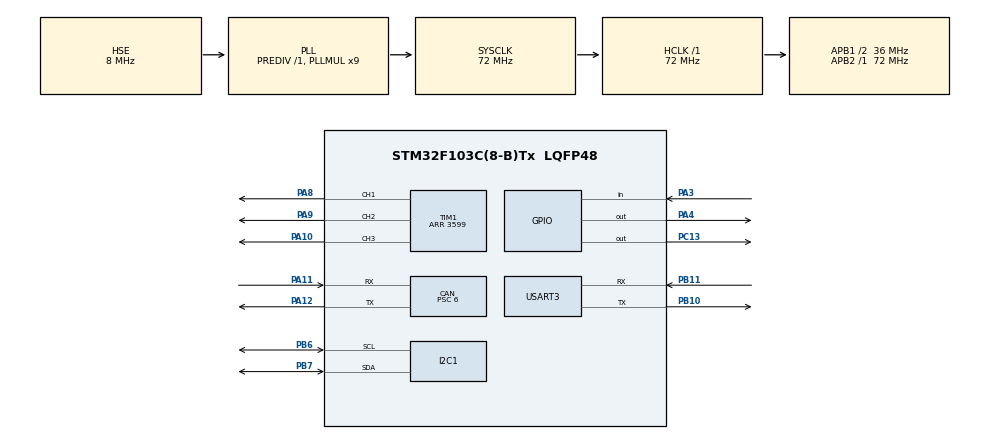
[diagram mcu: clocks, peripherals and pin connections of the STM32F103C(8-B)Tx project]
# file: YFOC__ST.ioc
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CAN.BS1=CAN_BS1_3TQ
CAN.BS2=CAN_BS2_2TQ
CAN.CalculateBaudRate=999999
CAN.CalculateTimeBit=1000
CAN.CalculateTimeQuantum=166.66666666666669
CAN.Prescaler=6
Dma.I2C1_RX.0.Direction=DMA_PERIPH_TO_MEMORY
Dma.I2C1_RX.0.Instance=DMA1_Channel7
Dma.I2C1_RX.0.MemDataAlignment=DMA_MDATAALIGN_BYTE
Dma.I2C1_RX.0.MemInc=DMA_MINC_ENABLE
Dma.I2C1_RX.0.Mode=DMA_NORMAL
Dma.I2C1_RX.0.PeriphDataAlignment=DMA_PDATAALIGN_BYTE
Dma.I2C1_RX.0.PeriphInc=DMA_PINC_DISABLE
Dma.I2C1_RX.0.Priority=DMA_PRIORITY_LOW
Dma.I2C1_TX.1.Direction=DMA_MEMORY_TO_PERIPH
Dma.I2C1_TX.1.Instance=DMA1_Channel6
Dma.I2C1_TX.1.MemDataAlignment=DMA_MDATAALIGN_BYTE
Dma.I2C1_TX.1.MemInc=DMA_MINC_ENABLE
Dma.I2C1_TX.1.Mode=DMA_NORMAL
Dma.I2C1_TX.1.PeriphDataAlignment=DMA_PDATAALIGN_BYTE
Dma.I2C1_TX.1.PeriphInc=DMA_PINC_DISABLE
Dma.I2C1_TX.1.Priority=DMA_PRIORITY_LOW
Dma.Request0=I2C1_RX
Dma.Request1=I2C1_TX
I2C1.I2C_Mode=I2C_Fast
Mcu.Family=STM32F1
Mcu.Name=STM32F103C(8-B)Tx
Mcu.Package=LQFP48
NVIC.DMA1_Channel6_IRQn=true\:0\:0\:false\:false\:true\:false\:true\:true
NVIC.DMA1_Channel7_IRQn=true\:0\:0\:false\:false\:true\:false\:true\:true
NVIC.I2C1_ER_IRQn=true\:1\:0\:true\:false\:true\:true\:true\:true
NVIC.I2C1_EV_IRQn=true\:1\:0\:true\:false\:true\:true\:true\:true
NVIC.PriorityGroup=NVIC_PRIORITYGROUP_4
NVIC.TIM2_IRQn=true\:0\:0\:true\:false\:true\:true\:true\:true
NVIC.TIM3_IRQn=true\:1\:0\:true\:false\:true\:true\:true\:true
NVIC.USART3_IRQn=true\:3\:0\:true\:false\:true\:true\:true\:true
NVIC.USB_HP_CAN1_TX_IRQn=true\:0\:0\:false\:false\:true\:true\:true\:true
NVIC.USB_LP_CAN1_RX0_IRQn=true\:0\:0\:false\:false\:true\:true\:true\:true
PA10.Signal=S_TIM1_CH3
PA11.Mode=CAN_Activate
PA11.Signal=CAN_RX
PA12.Mode=CAN_Activate
PA12.Signal=CAN_TX
PA13.Mode=Serial_Wire
PA13.Signal=SYS_JTMS-SWDIO
PA14.Mode=Serial_Wire
PA14.Signal=SYS_JTCK-SWCLK
PA3.Signal=GPIO_Input
PA4.Signal=GPIO_Output
PA8.Signal=S_TIM1_CH1
PA9.Signal=S_TIM1_CH2
PB10.Mode=Asynchronous
PB10.Signal=USART3_TX
PB11.Mode=Asynchronous
PB11.Signal=USART3_RX
PB6.Mode=I2C
PB6.Signal=I2C1_SCL
PB7.Mode=I2C
PB7.Signal=I2C1_SDA
PC13-TAMPER-RTC.Signal=GPIO_Output
PD0-OSC_IN.Mode=HSE-External-Oscillator
PD0-OSC_IN.Signal=RCC_OSC_IN
PD1-OSC_OUT.Mode=HSE-External-Oscillator
PD1-OSC_OUT.Signal=RCC_OSC_OUT
ProjectManager.HeapSize=0x200
ProjectManager.StackSize=0x400
ProjectManager.TargetToolchain=STM32CubeIDE
RCC.AHBFreq_Value=72000000
RCC.APB1CLKDivider=RCC_HCLK_DIV2
RCC.APB1Freq_Value=36000000
RCC.APB1TimFreq_Value=72000000
RCC.APB2Freq_Value=72000000
RCC.APB2TimFreq_Value=72000000
RCC.HCLKFreq_Value=72000000
RCC.PLLMUL=RCC_PLL_MUL9
RCC.PLLSourceVirtual=RCC_PLLSOURCE_HSE
RCC.SYSCLKFreq_VALUE=72000000
RCC.SYSCLKSource=RCC_SYSCLKSOURCE_PLLCLK
RCC.USBFreq_Value=72000000
SH.S_TIM1_CH1.0=TIM1_CH1,PWM Generation1 CH1
SH.S_TIM1_CH2.0=TIM1_CH2,PWM Generation2 CH2
SH.S_TIM1_CH3.0=TIM1_CH3,PWM Generation3 CH3
TIM1.Channel-PWM\ Generation1\ CH1=TIM_CHANNEL_1
TIM1.Channel-PWM\ Generation2\ CH2=TIM_CHANNEL_2
TIM1.Channel-PWM\ Generation3\ CH3=TIM_CHANNEL_3
TIM1.CounterMode=TIM_COUNTERMODE_CENTERALIGNED3
TIM1.Period=3599
TIM2.Period=999
TIM2.Prescaler=17
TIM3.Period=1999
TIM3.Prescaler=17
USART3.VirtualMode=VM_ASYNC
VP_TIM1_VS_ClockSourceINT.Mode=Internal
VP_TIM2_VS_ClockSourceINT.Mode=Internal
VP_TIM3_VS_ClockSourceINT.Mode=Internal
board=custom

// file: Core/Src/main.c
/* USER CODE BEGIN Header */
/**
  ******************************************************************************
  * @file           : main.c
  * @brief          : Main program body
  ******************************************************************************
  * @attention
  *
  * Copyright (c) 2025 STMicroelectronics.
  * All rights reserved.
  *
  * This software is licensed under terms that can be found in the LICENSE file
  * in the root directory of this software component.
  * If no LICENSE file comes with this software, it is provided AS-IS.
  *
  ******************************************************************************
  */
/* USER CODE END Header */
#include "main.h"
#include "can.h"
#include "dma.h"
#include "i2c.h"
#include "tim.h"
#include "usart.h"
#include "gpio.h"

/* USER CODE BEGIN Includes */
#include <stdbool.h>
#include <string.h>
#include <stdio.h>
#include <stdlib.h>
#include "math.h"
/* USER CODE END Includes */

/* USER CODE BEGIN PD */
#define CONTROL_ID_1_4           0x101
#define FEEDBACK_ID_BASE         0x111
#define INFOMATION_ID_BASE       0x121
#define AS5600_ADDR       0x36    // AS5600 I2C地址
#define AS5600_ANGLE_REG  0x0C    // 角度寄存器地址
#define _2PI              6.28318530718f

// 按键和LED控制相关定义
#define BUTTON_PIN           GPIO_PIN_3
#define BUTTON_PORT          GPIOA
#define LED_PIN              GPIO_PIN_13
#define LED_PORT             GPIOC
#define BUTTON_DEBOUNCE_TIME 50    // 按键防抖时间(ms)
#define LED_BASE_PERIOD      1000   // LED基础闪烁周期(ms)

//FOC.C
#define deg2rad(a) (_PI * (a) / 180)
#define rad2deg(a) (180 * (a) / PI)
#define max(a, b) ((a) > (b) ? (a) : (b))
#define min(a, b) ((a) < (b) ? (a) : (b))
#define rad60 deg2rad(60)
#define SQRT3 1.73205080756887729353
#define _constrain(amt, low, high) ((amt) < (low) ? (low) : ((amt) > (high) ? (high) : (amt)))
#define  voltage_power_supply 12.0

#define _sign(a) ( ( (a) < 0 )  ?  -1   : ( (a) > 0 ) )
#define _round(x) ((x)>=0?(long)((x)+0.5f):(long)((x)-0.5f))
#define _sqrt(a) (_sqrtApprox(a))

#define _2_SQRT3 1.15470053838f
#define _SQRT3 1.73205080757f
#define _1_SQRT3 0.57735026919f
#define _SQRT3_2 0.86602540378f
#define _SQRT2 1.41421356237f
#define _120_D2R 2.09439510239f
#define _PI 3.14159265359f
#define _PI_2 1.57079632679f
#define _PI_3 1.0471975512f
#define _2PI 6.28318530718f
#define _3PI_2 4.71238898038f
#define _PI_6 0.52359877559f

#define POLE_PAIRS 7 // 极对数
#define DIRECTION_FORWARD (-1)
#define SPEED_DIRECTION (-1)
// 电路参数：
#define R_SHUNT 0.02           // 电流采样电阻，欧姆
#define OP_GAIN 50             // 运放放大倍数
#define MAX_CURRENT 3          // 最大q轴电流，安培A
#define ADC_REFERENCE_VOLT 3.3 // 电流采样adc参考电压，伏
#define ADC_BITS 12            // ADC精度，bit
#define VOLTAGE_POWER_SUPPLY 12.0f  // 直流母线电压

// 单片机配置参数：
#define motor_pwm_freq 20000      // 驱动桥pwm频率，Hz
#define motor_speed_calc_freq 1000 // 电机速度计算频率，Hz

// 软件参数：
#define position_cycle (6 * PI) // 电机多圈周期，等于正半周期+负半周期

#define rad2deg(a) (180 * (a) / PI)
#define max(a, b) ((a) > (b) ? (a) : (b))
#define min(a, b) ((a) < (b) ? (a) : (b))
/* USER CODE END PD */

/* USER CODE BEGIN PV */

//标识符
volatile uint8_t uart_data_ready = 0;
volatile uint8_t can_data_ready = 0;
volatile uint8_t can_send_flag = 0;
/* CAN发送状态标志 */
volatile uint8_t can_tx_busy = 0;

// 按键和LED控制相关变量
volatile uint8_t current_id = 2;              // 当前ID (1-4)
volatile uint32_t button_last_press_time = 0; // 上次按键按下时间
volatile uint8_t button_state = 0;            // 当前按键状态
volatile uint8_t button_pressed = 0;          // 按键按下标志
volatile uint32_t led_last_toggle_time = 0;   // LED上次切换时间
volatile uint8_t led_state = 0;               // LED当前状态

//CAN
// 添加全局变量
CAN_TxHeaderTypeDef tx_header;
CAN_RxHeaderTypeDef rx_header;
uint8_t can_tx_data[8];
uint8_t can_rx_data[8];
uint8_t can_data_buffer[8];
uint8_t can_data_len = 0;
uint32_t can_rx_id = 0;

float dt_foc = 0.0005f;
float dt_encode = 0.00025f;

uint8_t uart_rx_buffer[4];  // 修改为4字节（32位浮点数大小）
uint8_t uart_rx_length = 0; // 新增变量，记录UART接收到的有效数据长度
char uart_buffer[100];

uint32_t  time_start = 0;
uint32_t  time_end = 0;
uint32_t  time_diff = 0;

//开环控制用
uint32_t lastTime_open = 0;
float angle_open = 0.0f;
float targetVoltage_open = 0.8f;
float Uq_open = 0.0f;
float elec_angle_open = 0.0f;

const int sine_array[200] = {0, 79, 158, 237, 316, 395, 473, 552, 631, 710, 789, 867, 946, 1024, 1103, 1181,
                             1260, 1338, 1416, 1494, 1572, 1650, 1728, 1806, 1883, 1961, 2038, 2115, 2192,
                             2269, 2346, 2423, 2499, 2575, 2652, 2728, 2804, 2879, 2955, 3030, 3105, 3180,
                             3255, 3329, 3404, 3478, 3552, 3625, 3699, 3772, 3845, 3918, 3990, 4063, 4135,
                             4206, 4278, 4349, 4420, 4491, 4561, 4631, 4701, 4770, 4840, 4909, 4977, 5046,
                             5113, 5181, 5249, 5316, 5382, 5449, 5515, 5580, 5646, 5711, 5775, 5839, 5903,
                             5967, 6030, 6093, 6155, 6217, 6279, 6340, 6401, 6461, 6521, 6581, 6640, 6699,
                             6758, 6815, 6873, 6930, 6987, 7043, 7099, 7154, 7209, 7264, 7318, 7371, 7424,
                             7477, 7529, 7581, 7632, 7683, 7733, 7783, 7832, 7881, 7930, 7977, 8025, 8072,
                             8118, 8164, 8209, 8254, 8298, 8342, 8385, 8428, 8470, 8512, 8553, 8594, 8634,
                             8673, 8712, 8751, 8789, 8826, 8863, 8899, 8935, 8970, 9005, 9039, 9072, 9105,
                             9138, 9169, 9201, 9231, 9261, 9291, 9320, 9348, 9376, 9403, 9429, 9455, 9481,
                             9506, 9530, 9554, 9577, 9599, 9621, 9642, 9663, 9683, 9702, 9721, 9739, 9757,
                             9774, 9790, 9806, 9821, 9836, 9850, 9863, 9876, 9888, 9899, 9910, 9920, 9930,
                             9939, 9947, 9955, 9962, 9969, 9975, 9980, 9985, 9989, 9992, 9995, 9997, 9999,
                             10000, 10000};

// AS5600 DMA相关变量
uint8_t as5600_dma_buffer[2]; // 用于接收编码器数据的DMA缓冲区
uint8_t as5600_reg_addr = AS5600_ANGLE_REG; // 角度寄存器地址
volatile uint8_t as5600_dma_complete = 0; // DMA完成标志

//foc_runing
typedef enum {
    OPENLOOP_MODE = 0,    // 开环控制
    SPEEDCLOSE_MODE = 1,       // 速度闭环
    POSITION_RELATIVE_MODE = 2,   //单圈闭环
    POSITION_ABSOLUTE_MODE = 3,   //多圈闭环
    POSITION_SPEEDCLOSE_MODE = 4, //位置速度串级闭环
    STOP_MODE = 5
} control_mode_t;

// PID 结构体
typedef struct {
    float Kp;           // 比例系数
    float Ki;           // 积分系数
    float Kd;           // 微分系数
    float integral;     // 积分项
    float prev_error;   // 上一次误差
} pid_params_t;

typedef struct {
    float position_rad;     // 位置（弧度）
    float velocity_rad;     // 速度（rad/s）
    float mech_angle_rad;   // 机械角度单圈()
    float zero_elec_angle_rad;
} sensor_data_t;

typedef struct {
    struct {
        struct {
            pid_params_t position;    // 位置环 PID
            pid_params_t velocity;    // 速度环 PID
        } basic;
        struct {
            pid_params_t position;    // 串级控制位置环 PID
            pid_params_t velocity;    // 串级控制速度环 PID
        } cascade;
    } pid;

    struct {
        float k_ff;     // 前馈系数
    } filter;

    sensor_data_t sensor;    // 传感器数据
    control_mode_t mode;     // 控制模式

    float zero_electric_angle ;    // 电机零电角
    float target_position;   // 目标位置
    float target_velocity;   // 目标速度
} controller_t;

static controller_t ctrl;

// AS5600结构体
typedef struct {
    I2C_HandleTypeDef *hi2c;
    int32_t full_rotations;        // 完整旋转圈数
    int32_t vel_full_rotations;    // 速度计算用的圈数
    uint16_t raw_angle;            // 当前原始角度值(0-4095)
    int32_t total_angle_raw;       // 总共旋转的角度-一圈是4096
    int16_t rotor_zero_angle_raw;  //
    uint16_t angle_prev;           // 上一次角度值(0-4095)
    float position_rad;            // 当前位置（弧度）
    float rotor_phy_angle;
    float velocity_rad_per_sec;    // 当前速度（弧度/秒）
    float velocity_rpm;            // 当前速度（RPM）
    float velocity_rad_per_sec_filtered; // 滤波后的速度（弧度/秒）
    float velocity_rpm_filtered;   // 滤波后的速度（RPM）
    int8_t once;
} AS5600_TypeDef;

AS5600_TypeDef as5600;

typedef struct {
    uint16_t relative_position;  // 相对位置,以原始值表示 (1圈 = 4096个单位)
    int32_t total_degrees;       // 总共旋转的角度,以原始值表示 (1圈 = 4096个单位)
    int16_t turn_count;          // 圈数
    int16_t speed;                 // 转速 (RPM)
    int16_t current;               // 电流(A)
    uint8_t temperature;          // 电机温度 (°C)
    uint8_t mode;                 // 控制模式
} motor_control_t;

static motor_control_t motor_ctrl = {0};
static motor_control_t motor_info = {0};

/* USER CODE END PV */

void SystemClock_Config(void);

/* USER CODE BEGIN 0 */
float _sin(float a)
{
    if (a < _PI_2)
    {
        //return sine_array[(int)(199.0f*( a / (_PI/2.0)))];
        //return sine_array[(int)(126.6873f* a)];           // float array optimized
        return 0.0001f * sine_array[_round(126.6873f * a)];      // int array optimized
    } else if (a < _PI)
    {
        // return sine_array[(int)(199.0f*(1.0f - (a-_PI/2.0) / (_PI/2.0)))];
        //return sine_array[398 - (int)(126.6873f*a)];          // float array optimized
        return 0.0001f * sine_array[398 - _round(126.6873f * a)];     // int array optimized
    } else if (a < _3PI_2)
    {
        // return -sine_array[(int)(199.0f*((a - _PI) / (_PI/2.0)))];
        //return -sine_array[-398 + (int)(126.6873f*a)];           // float array optimized
        return -0.0001f * sine_array[-398 + _round(126.6873f * a)];      // int array optimized
    } else
    {
        // return -sine_array[(int)(199.0f*(1.0f - (a - 3*_PI/2) / (_PI/2.0)))];
        //return -sine_array[796 - (int)(126.6873f*a)];           // float array optimized
        return -0.0001f * sine_array[796 - _round(126.6873f * a)];      // int array optimized
    }
}

// function approximating cosine calculation by using fixed size array
float _cos(float a)
{
    float a_sin = a + _PI_2;
    a_sin = a_sin > _2PI ? a_sin - _2PI : a_sin;
    return _sin(a_sin);
}

float cycle_diff(float diff, float cycle)
{
    // 参数校验
    const float eps = 1e-6f;
    if (cycle <= 0.0f || isnan(cycle)) {
        return NAN;  // 或返回原值/抛出错误
    }

    // 计算半周期并调整
    const float half_cycle = cycle / 2.0f;
    if (diff > half_cycle + eps) {
        diff -= cycle;
    } else if (diff < -half_cycle - eps) {
        diff += cycle;
    }
    return diff;
}

// normalizing radian angle to [0,2PI]
float _normalizeAngle(float angle)
{
    float a = fmod(angle, _2PI);
    return a >= 0 ? a : (a + _2PI);
}

// Electrical angle calculation
float _electricalAngle(float shaft_angle, int pole_pairs)
{
    return DIRECTION_FORWARD * (shaft_angle * (float)pole_pairs) - ctrl.sensor.zero_elec_angle_rad;
}

// square root approximation function using
float _sqrtApprox(float number)
{//low in fat
    long i;
    float y;
    // float x;
    // const float f = 1.5F; // better precision

    // x = number * 0.5F;
    y = number;
    i = *(long*) &y;
    i = 0x5f375a86 - (i >> 1);
    y = *(float*) &i;
    // y = y * ( f - ( x * y * y ) ); // better precision
    return number * y;
}

float low_pass_filter(float input, float last_output, float alpha)
{
    return alpha * input + (1.0f - alpha) * last_output;
}

float PID_Calculate(pid_params_t *pid, float error, float dt) {
    // 比例项
    float p_term = pid->Kp * error;

    // 积分项（带积分限幅）
    pid->integral += error * dt;
    pid->integral = _constrain(pid->integral, -100.0f, 100.0f); // 积分限幅，防止积分饱和
    float i_term = pid->Ki * pid->integral;

    // 微分项
    float derivative = (error - pid->prev_error) / dt;
    float d_term = pid->Kd * derivative;

    // 保存当前误差
    pid->prev_error = error;

    // 计算PID输出（带输出限幅）
    float output = p_term + i_term + d_term;
    return output;
}
void set_pwm_duty(float d_u, float d_v, float d_w)
{
  d_u = min(d_u, 0.9);
  d_v = min(d_v, 0.9);
  d_w = min(d_w, 0.9);
  uint32_t period = __HAL_TIM_GET_AUTORELOAD(&htim1);
  __disable_irq();
  __HAL_TIM_SET_COMPARE(&htim1, TIM_CHANNEL_1, d_u * period);
  __HAL_TIM_SET_COMPARE(&htim1, TIM_CHANNEL_2, d_v * period);
  __HAL_TIM_SET_COMPARE(&htim1, TIM_CHANNEL_3, d_w * period);
  __enable_irq();
}

void svpwm(float phi, float d, float q, float *d_u, float *d_v, float *d_w) {
    d = min(d, 1);
    d = max(d, -1);
    q = min(q, 1);
    q = max(q, -1);
    const int v[6][3] = {{1, 0, 0}, {1, 1, 0}, {0, 1, 0}, {0, 1, 1}, {0, 0, 1}, {1, 0, 1}};
    const int K_to_sector[] = {4, 6, 5, 5, 3, 1, 2, 2};
    // 计算 alpha-beta 坐标系中的电压分量
    float alpha = -q * _sin(phi) + d * _cos(phi);
    float beta = q * _cos(phi) + d * _sin(phi);
    bool A = beta > 0;
    bool B = fabs(beta) > SQRT3 * fabs(alpha);
    bool C = alpha > 0;

    int K = 4 * A + 2 * B + C;
    int sector = K_to_sector[K];

    float t_m = _sin(sector * rad60) * alpha - _cos(sector * rad60) * beta;
    float t_n = beta * _cos(sector * rad60 - rad60) - alpha * _sin(sector * rad60 - rad60);
    float t_0 = 1 - t_m - t_n;

    *d_u = t_m * v[sector - 1][0] + t_n * v[sector % 6][0] + t_0 / 2;
    *d_v = t_m * v[sector - 1][1] + t_n * v[sector % 6][1] + t_0 / 2;
    *d_w = t_m * v[sector - 1][2] + t_n * v[sector % 6][2] + t_0 / 2;
}

void foc_forward(float d, float q, float rotor_rad)
{
    float d_u = 0;
    float d_v = 0;
    float d_w = 0;
    svpwm(rotor_rad, d, q, &d_u, &d_v, &d_w);
    set_pwm_duty(d_u, d_v, d_w);
}

float velocityOpenloop(float target_velocity) {
    uint32_t now_ms = HAL_GetTick();
    float Ts = (now_ms - lastTime_open) * 1e-3f; // 转换为秒

    if (Ts <= 0 || Ts > 0.5f) Ts = 1e-3f;

    // 更新角度
    angle_open = _normalizeAngle(angle_open - target_velocity * Ts);

    float Uq = voltage_power_supply/3;

    foc_forward(0, 1.0f, angle_open);
    lastTime_open = now_ms;
    return Uq;
}

// FOC主控制函数
void FOC_Control(controller_t *ctrl, float dt) {

    // 计算电角度
    float elec_angle = _electricalAngle(ctrl->sensor.position_rad, POLE_PAIRS);
    elec_angle = _normalizeAngle(elec_angle);
    // 控制电流输出
    float q_current = 0.0f; // q轴电流（转矩电流）

    // 根据不同控制模式执行对应控制算法
    switch (ctrl->mode) {
        case OPENLOOP_MODE:
            // 开环控制模式，直接使用目标速度计算角度
            velocityOpenloop(ctrl->target_velocity);
            break;

        case SPEEDCLOSE_MODE:
            // 速度闭环控制
            {
                // 计算速度误差
                float velocity_error = ctrl->target_velocity - ctrl->sensor.velocity_rad;

                // 速度PID控制器计算
                q_current = PID_Calculate(&ctrl->pid.basic.velocity, velocity_error, dt) + ctrl->filter.k_ff * velocity_error;

                // 应用FOC控制
                foc_forward(0, SPEED_DIRECTION * q_current, elec_angle);
            }
            break;

        case POSITION_RELATIVE_MODE:
            // 位置闭环控制（单圈）--------单圈控制有问题，需要实现的是固定到一个单圈角度
            {
                // 计算位置误差（考虑单圈）
                float position_error = ctrl->target_position - ctrl->sensor.position_rad;
                position_error = cycle_diff(position_error, _2PI);

                // 位置PID计算
                q_current = PID_Calculate(&ctrl->pid.basic.position, position_error, dt);

                // 应用FOC控制
                foc_forward(0, SPEED_DIRECTION * q_current, elec_angle);
            }
            break;

        case POSITION_ABSOLUTE_MODE:
            // 位置闭环控制（多圈）
            {
                // 计算位置误差（考虑多圈）
                float position_error = (ctrl->target_position - ctrl->sensor.position_rad);

                // 位置PID计算
                q_current = PID_Calculate(&ctrl->pid.basic.position, position_error, dt);

                // 应用FOC控制
                foc_forward(0, SPEED_DIRECTION * q_current, elec_angle);
            }
            break;
        case POSITION_SPEEDCLOSE_MODE:
            // 位置速度串级闭环控制
            {
                // 计算位置误差（考虑多圈）
                float position_error = (ctrl->target_position - ctrl->sensor.position_rad);

                // 位置环PID计算，输出速度目标值
                float target_velocity = PID_Calculate(&ctrl->pid.cascade.position, position_error, dt);

                target_velocity = _constrain(target_velocity, -ctrl->target_velocity, ctrl->target_velocity);
                // 计算速度误差
                float velocity_error = target_velocity - ctrl->sensor.velocity_rad;

                // 速度环PID计算，输出电流目标值
                q_current = PID_Calculate(&ctrl->pid.cascade.velocity, velocity_error, dt);

                // 应用FOC控制
                foc_forward(0, SPEED_DIRECTION * q_current, elec_angle);
            }
            break;
        case STOP_MODE:
            default:
            {
                foc_forward(0.0f, 0.0f, 0.0f);
            }
    }
}

// 初始化控制器参数
void Controller_Init(controller_t *ctrl) {
    // 设置默认控制模式
    ctrl->mode = POSITION_ABSOLUTE_MODE;

    // 位置PID参数初始化
    ctrl->pid.basic.position.Kp = 1.2f;   // 比例系数
    ctrl->pid.basic.position.Ki = 0.01f;   // 积分系数
    ctrl->pid.basic.position.Kd = 0.001f;  // 微分系数
    ctrl->pid.basic.position.integral = 0.0f;
    ctrl->pid.basic.position.prev_error = 0.0f;

    // 速度PID参数初始化
    ctrl->pid.basic.velocity.Kp = 0.18f;   // 比例系数
    ctrl->pid.basic.velocity.Ki = 0.1f;   // 积分系数
    ctrl->pid.basic.velocity.Kd = 0.0007f;   // 微分系数
    ctrl->pid.basic.velocity.integral = 0.0f;
    ctrl->pid.basic.velocity.prev_error = 0.0f;

    // 串级控制位置PID参数初始化
    ctrl->pid.cascade.position.Kp = 15.2f;   // 比例系数（外环通常较小）
    ctrl->pid.cascade.position.Ki = 0.2f;  // 积分系数
    ctrl->pid.cascade.position.Kd = 0.0002f;  // 微分系数
    ctrl->pid.cascade.position.integral = 0.0f;
    ctrl->pid.cascade.position.prev_error = 0.0f;

    // 串级控制速度PID参数初始化
    ctrl->pid.cascade.velocity.Kp = 0.15f;  // 比例系数（内环响应要快）
    ctrl->pid.cascade.velocity.Ki = 0.08f;  // 积分系数
    ctrl->pid.cascade.velocity.Kd = 0.0005f; // 微分系数
    ctrl->pid.cascade.velocity.integral = 0.0f;
    ctrl->pid.cascade.velocity.prev_error = 0.0f;

    // 前馈系数
    ctrl->filter.k_ff = 0.05f;  // 默认不使用前馈

    // 目标设置初始化
    ctrl->target_position = 0.0f;
    ctrl->target_velocity = 20.0f;
}

// PID参数调整函数
void Controller_SetCascadePID(controller_t *ctrl,
                             float pos_kp, float pos_ki, float pos_kd,
                             float vel_kp, float vel_ki, float vel_kd) {
    // 更新串级位置PID参数
    ctrl->pid.cascade.position.Kp = pos_kp;
    ctrl->pid.cascade.position.Ki = pos_ki;
    ctrl->pid.cascade.position.Kd = pos_kd;

    // 更新串级速度PID参数
    ctrl->pid.cascade.velocity.Kp = vel_kp;
    ctrl->pid.cascade.velocity.Ki = vel_ki;
    ctrl->pid.cascade.velocity.Kd = vel_kd;
}

// 重置PID积分项函数（模式切换时使用）
void Controller_ResetPID(controller_t *ctrl) {
    // 重置基础PID积分项
    ctrl->pid.basic.position.integral = 0.0f;
    ctrl->pid.basic.position.prev_error = 0.0f;
    ctrl->pid.basic.velocity.integral = 0.0f;
    ctrl->pid.basic.velocity.prev_error = 0.0f;

    // 重置串级PID积分项
    ctrl->pid.cascade.position.integral = 0.0f;
    ctrl->pid.cascade.position.prev_error = 0.0f;
    ctrl->pid.cascade.velocity.integral = 0.0f;
    ctrl->pid.cascade.velocity.prev_error = 0.0f;
}

uint16_t AS5600_GetRawAngle(AS5600_TypeDef *as5600)
{
    uint8_t data[2];
    uint16_t raw_angle = 0;

    // 读取角度寄存器 (0x0C和0x0D)
    HAL_I2C_Mem_Read(as5600->hi2c, (AS5600_ADDR << 1), 0x0C, I2C_MEMADD_SIZE_8BIT, data, 2, HAL_MAX_DELAY);

    // 组合两个字节，高字节在前，低字节在后
    raw_angle = ((uint16_t)data[0] << 8) | data[1];

    // AS5600是12位分辨率，所以我们只保留低12位
    raw_angle &= 0x0FFF;

    return raw_angle;
}
void AS5600_Init(AS5600_TypeDef *as5600, I2C_HandleTypeDef *hi2c) {
    as5600->hi2c = hi2c;
    as5600->full_rotations = 0;
    as5600->vel_full_rotations = 0;
    as5600->raw_angle = 0;
    as5600->position_rad = 0.0f;
    as5600->rotor_phy_angle = 0.0f;
    as5600->velocity_rad_per_sec = 0.0f;
    as5600->velocity_rpm = 0.0f;
    as5600->once = 0;

    // 读取初始角度
    uint8_t data[2];
    HAL_I2C_Mem_Read(as5600->hi2c, (AS5600_ADDR << 1), AS5600_ANGLE_REG, I2C_MEMADD_SIZE_8BIT, data, 2, HAL_MAX_DELAY);

    // 组合两个字节，高字节在前，低字节在后
    as5600->raw_angle = ((uint16_t)data[0] << 8) | data[1];
    as5600->angle_prev = as5600->raw_angle & 0x0FFF; // 12位分辨率
}
// 启动连续DMA读取
void AS5600_StartDMAReading(void) {
    // 启动定时器
    HAL_TIM_Base_Start_IT(&htim2);

    // 发起首次读取
    as5600_dma_complete = 0;
    HAL_I2C_Mem_Read_DMA(&hi2c1, (AS5600_ADDR << 1), AS5600_ANGLE_REG, I2C_MEMADD_SIZE_8BIT, as5600_dma_buffer, 2);
}

// 处理DMA完成回调
void HAL_I2C_MemRxCpltCallback(I2C_HandleTypeDef *hi2c) {
    if (hi2c->Instance == I2C1) {
        // 设置DMA完成标志
        as5600_dma_complete = 1;
    }
}

// 计算角度和速度
void AS5600_ProcessData(AS5600_TypeDef *as5600) {

    // 解析收到的角度数据
    uint16_t raw_angle = ((uint16_t)as5600_dma_buffer[0] << 8) | as5600_dma_buffer[1];
    raw_angle &= 0x0FFF; // 保留12位数据

    as5600->raw_angle = raw_angle ;

    // 检测圈数变化
    int16_t angle_diff = (int16_t)raw_angle - (int16_t)as5600->angle_prev;

    // 检测跨越零点
    if (angle_diff < -2048) { // 过零点，顺时针旋转
        as5600->full_rotations++;
    } else if (angle_diff > 2048) { // 过零点，逆时针旋转
        as5600->full_rotations--;
    }

    // 计算总角度（原始值）
    as5600->total_angle_raw = as5600->full_rotations * 4096 + raw_angle;

    // 转换为弧度
    as5600->position_rad = (float)as5600->total_angle_raw * _2PI / 4096.0f;
    as5600->rotor_phy_angle = as5600->position_rad;

    // 计算角速度
    float angle_diff_rad = (float)angle_diff * _2PI / 4096.0f;
    if (angle_diff < -2048) angle_diff_rad += _2PI;
    else if (angle_diff > 2048) angle_diff_rad -= _2PI;

    // 原始速度计算
    float velocity_rad_per_sec_raw = angle_diff_rad / dt_encode;
    as5600->velocity_rad_per_sec = velocity_rad_per_sec_raw;
    as5600->velocity_rpm = velocity_rad_per_sec_raw * 60.0f / _2PI;

    // 应用低通滤波 - 选择合适的滤波系数
    float alpha = 0.005f; // 滤波系数，值越小滤波效果越强，但响应越慢

    // 首次运行时初始化滤波值
    if (as5600->once == 0) {
        as5600->velocity_rad_per_sec_filtered = velocity_rad_per_sec_raw;
        as5600->velocity_rpm_filtered = as5600->velocity_rpm;
        as5600->once = 1;
    } else {
        // 对弧度/秒速度应用滤波
        as5600->velocity_rad_per_sec_filtered = low_pass_filter(
            velocity_rad_per_sec_raw,
            as5600->velocity_rad_per_sec_filtered,
            alpha
        );

        // 对RPM速度应用滤波
        as5600->velocity_rpm_filtered = low_pass_filter(
            as5600->velocity_rpm,
            as5600->velocity_rpm_filtered,
            alpha
        );
    }

    // 更新上一次的角度
    as5600->angle_prev = raw_angle;
}

// 获取当前CAN控制ID
uint32_t get_current_control_id(void) {
    return CONTROL_ID_1_4 + (current_id - 1);
}

// 获取当前CAN反馈ID
uint32_t get_current_feedback_id(void) {
    return FEEDBACK_ID_BASE + (current_id - 1);
}

// 获取当前CAN信息ID
uint32_t get_current_info_id(void) {
    return INFOMATION_ID_BASE + (current_id - 1);
}

// 重新配置CAN过滤器
void reconfigure_can_filter(void) {
    // 停止CAN
    HAL_CAN_Stop(&hcan);

    // 重新配置过滤器以接收当前ID的控制命令
    CAN_FilterTypeDef can_filter = {
        .FilterIdHigh = (get_current_control_id() << 5),     // 当前ID左移5位
        .FilterIdLow = 0x0000,
        .FilterMaskIdHigh = (0x7FF << 5),          // 标准ID掩码：11位全1左移5位
        .FilterMaskIdLow = 0x0000,
        .FilterFIFOAssignment = CAN_FILTER_FIFO0,
        .FilterBank = 0,
        .FilterMode = CAN_FILTERMODE_IDMASK,
        .FilterScale = CAN_FILTERSCALE_32BIT,
        .FilterActivation = ENABLE,
        .SlaveStartFilterBank = 14
    };
    HAL_CAN_ConfigFilter(&hcan, &can_filter);

    // 重新启动CAN
    HAL_CAN_Start(&hcan);
    HAL_CAN_ActivateNotification(&hcan, CAN_IT_RX_FIFO0_MSG_PENDING);
}

/**
 * @brief  发送电机反馈信息
 * @retval 无
 */
void send_motor_feedback(void)
{
  // 准备数据
  uint8_t data[8];
  uint32_t mailbox;

  // 配置CAN发送头 - 使用动态ID
  tx_header.StdId = get_current_feedback_id();  // 根据当前ID选择反馈ID
  tx_header.RTR = CAN_RTR_DATA;
  tx_header.IDE = CAN_ID_STD;
  tx_header.DLC = 8;  // 数据长度为8字节
  // 按照指定格式打包数据
  data[0] = (motor_info.total_degrees >> 24) & 0xFF;  // 最高字节
  data[1] = (motor_info.total_degrees >> 16) & 0xFF;  // 次高字节
  data[2] = (motor_info.total_degrees >> 8) & 0xFF;   // 次低字节
  data[3] = motor_info.total_degrees & 0xFF;          // 最低字节
  data[4] = (motor_info.speed >> 8) & 0xFF;
  data[5] = motor_info.speed & 0xFF;
  data[6] = (motor_info.current >> 8) & 0xFF;
  data[7] = motor_info.current & 0xFF;

  // 发送CAN消息
  HAL_CAN_AddTxMessage(&hcan, &tx_header, data, &mailbox);
  // 调试输出
  /*char startup_msg[] = "QUEUE MOTOR FEEDBACK\r\n";
  HAL_UART_Transmit(&huart3, (uint8_t*)startup_msg, strlen(startup_msg), 100);*/
}

/**
 * @brief  发送电机信息
 * @retval 无
 */
void send_motor_info(void)
{
  // 准备数据
  uint8_t data[8] = {0};
  uint32_t mailbox;

  // 配置CAN发送头 - 使用动态ID
  tx_header.StdId = get_current_info_id();  // 根据当前ID选择信息ID
  tx_header.RTR = CAN_RTR_DATA;
  tx_header.IDE = CAN_ID_STD;
  tx_header.DLC = 8;  // 数据长度为8字节
  // 按照指定格式打包数据
  data[0] = motor_info.temperature;
  data[1] = motor_info.mode;

  HAL_CAN_AddTxMessage(&hcan, &tx_header, data, &mailbox);
  // 调试输出
  /*char startup_msg[] = "QUEUE MOTOR INFO\r\n";
  HAL_UART_Transmit(&huart3, (uint8_t*)startup_msg, strlen(startup_msg), 100);*/
}

void set_motor_info()
{
  // 获取角度信息
  motor_info.relative_position = as5600.raw_angle;
  motor_info.total_degrees = as5600.total_angle_raw;

  // 单独计算速度，避免递归调用
  motor_info.speed = _round(as5600.velocity_rpm);

  motor_info.current = -100; //-100表示不使用电流环
  motor_info.temperature = 0;//0表示没有温度传感器
  motor_info.mode = ctrl.mode;
};

// 按键检测函数
void button_scan(void) {
    uint32_t current_time = HAL_GetTick();
    uint8_t button_read = HAL_GPIO_ReadPin(BUTTON_PORT, BUTTON_PIN);

    // 按键按下检测（假设按键按下为低电平）
    if (button_read == GPIO_PIN_RESET && button_state == 0) {
        if (current_time - button_last_press_time > BUTTON_DEBOUNCE_TIME) {
            button_state = 1;
            button_pressed = 1;
            button_last_press_time = current_time;
        }
    }
    // 按键释放检测
    else if (button_read == GPIO_PIN_SET && button_state == 1) {
        if (current_time - button_last_press_time > BUTTON_DEBOUNCE_TIME) {
            button_state = 0;
        }
    }
}

// 处理按键按下事件
void handle_button_press(void) {
    if (button_pressed) {
        button_pressed = 0;

        // ID循环：1 -> 2 -> 3 -> 4 -> 1
        current_id++;
        if (current_id > 4) {
            current_id = 1;
        }

        // 重新配置CAN过滤器以接收新的ID
        reconfigure_can_filter();

        // 调试输出
        char debug_msg[50];
        sprintf(debug_msg, "ID changed to: %d (CAN ID: 0x%03X)\r\n",
                current_id, get_current_control_id());
        HAL_UART_Transmit(&huart3, (uint8_t*)debug_msg, strlen(debug_msg), 100);
    }
}

// LED控制函数 - 根据ID以不同频率闪烁
void led_control(void) {
    uint32_t current_time = HAL_GetTick();
    uint32_t led_period;

    // 根据ID设置不同的闪烁频率
    // ID1: 200ms周期 (1Hz)
    // ID2: 400ms周期 (2Hz)
    // ID3: 600ms周期 (3Hz)
    // ID4: 800ms周期 (4Hz)
    led_period = LED_BASE_PERIOD / current_id;

    if (current_time - led_last_toggle_time >= led_period) {
        led_state = !led_state;
        HAL_GPIO_WritePin(LED_PORT, LED_PIN, led_state ? GPIO_PIN_RESET : GPIO_PIN_SET);
        led_last_toggle_time = current_time;
    }
}

/* USER CODE END 0 */

int main(void)
{

  /* MCU Configuration--------------------------------------------------------*/

  /* Reset of all peripherals, Initializes the Flash interface and the Systick. */
  HAL_Init();

  /* Configure the system clock */
  SystemClock_Config();

  /* Initialize all configured peripherals */
  MX_GPIO_Init();
  MX_DMA_Init();
  MX_TIM1_Init();
  MX_USART3_UART_Init();
  MX_I2C1_Init();
  MX_TIM2_Init();
  MX_TIM3_Init();
  MX_CAN_Init();
  /* USER CODE BEGIN 2 */

    /* 初始化CAN头结构体 */
    tx_header.StdId = 0x100;
    tx_header.RTR = CAN_RTR_DATA;
    tx_header.IDE = CAN_ID_STD;
    tx_header.DLC = 8;
    tx_header.TransmitGlobalTime = DISABLE;

    // CAN过滤器配置 - 根据当前ID配置过滤器
    CAN_FilterTypeDef can_filter = {
        // 对于标准ID，需要将11位ID左移5位放到FilterIdHigh的高11位
        .FilterIdHigh = (get_current_control_id() << 5),     // 当前控制ID左移5位
        .FilterIdLow = 0x0000,
        .FilterMaskIdHigh = (0x7FF << 5),          // 标准ID掩码：11位全1左移5位
        .FilterMaskIdLow = 0x0000,
        .FilterFIFOAssignment = CAN_FILTER_FIFO0,
        .FilterBank = 0,
        .FilterMode = CAN_FILTERMODE_IDMASK,
        .FilterScale = CAN_FILTERSCALE_32BIT,
        .FilterActivation = ENABLE,
        .SlaveStartFilterBank = 14
    };
    HAL_CAN_ConfigFilter(&hcan, &can_filter);

    /* 启动CAN接收 */
    HAL_CAN_Start(&hcan);
    HAL_CAN_ActivateNotification(&hcan, CAN_IT_RX_FIFO0_MSG_PENDING);

    // 调试输出：CAN初始化完成信息
    char can_init_msg[80];
    sprintf(can_init_msg, "CAN initialized - Current ID: %d, Filter: 0x%03X\r\n",
            current_id, get_current_control_id());
    HAL_UART_Transmit(&huart3, (uint8_t*)can_init_msg, strlen(can_init_msg), 100);

    AS5600_Init(&as5600, &hi2c1);
    AS5600_StartDMAReading();
    //初始化PWM
    HAL_TIM_PWM_Start(&htim1, TIM_CHANNEL_1);
    HAL_TIM_PWM_Start(&htim1, TIM_CHANNEL_2);
    HAL_TIM_PWM_Start(&htim1, TIM_CHANNEL_3);
    /* 使能输出 */
    HAL_GPIO_WritePin(GPIOA, GPIO_PIN_4, GPIO_PIN_SET);
    HAL_GPIO_WritePin(GPIOC, GPIO_PIN_13, GPIO_PIN_SET);
    HAL_Delay(500);
    Controller_Init(&ctrl);
    ctrl.target_position = as5600.position_rad;
    HAL_Delay(100);
    foc_forward(0.0f, 0.5f, _3PI_2);              // 生成SVPWM模型中的基础矢量1，即对应转子零度位置
    HAL_Delay(2000);                       // 保持一会，转子吸引过来需要时间
    ctrl.sensor.zero_elec_angle_rad =  _electricalAngle(as5600.position_rad,  POLE_PAIRS ) ;

    foc_forward(0.0f, 0.0f, 0.0f);                 // 松开电机
    HAL_Delay(50);

    // 启动定时器
    HAL_TIM_Base_Start_IT(&htim3);
  /* USER CODE END 2 */

  /* Infinite loop */
  while (1)
  {

    /* USER CODE BEGIN 3 */
       // 按键扫描和LED控制
       button_scan();
       handle_button_press();
       led_control();

       // 可以在此处添加一些非实时处理代码，比如UART发送数据
       char mode_str[20];
       switch(ctrl.mode) {
           case OPENLOOP_MODE: strcpy(mode_str, "OPENLOOP"); break;
           case SPEEDCLOSE_MODE: strcpy(mode_str, "SPEEDCLOSE"); break;
           case POSITION_RELATIVE_MODE: strcpy(mode_str, "POS_RELATIVE"); break;
           case POSITION_ABSOLUTE_MODE: strcpy(mode_str, "POS_ABSOLUTE"); break;
           case POSITION_SPEEDCLOSE_MODE: strcpy(mode_str, "POS_SPEEDCLOSE"); break;
           case STOP_MODE: strcpy(mode_str, "STOP"); break;
           default: strcpy(mode_str, "UNKNOWN"); break;
       }

       sprintf(uart_buffer, "Mode:%s target_pos:%.2f total_encode:%ld pos_rad:%.2f vel:%.2f rad/s %.2f RPM\r\n",
               mode_str, ctrl.target_position, as5600.total_angle_raw, ctrl.sensor.position_rad,
               as5600.velocity_rad_per_sec_filtered, as5600.velocity_rpm);
       HAL_UART_Transmit(&huart3, (uint8_t*)uart_buffer, strlen(uart_buffer), 100);

      set_motor_info();
      send_motor_feedback();
      send_motor_info();
      /* 处理CAN接收数据 */
      if (can_data_ready) {
          // 额外检查：确保处理的是当前设备的控制命令ID
          if (can_rx_id == get_current_control_id()) {
              motor_ctrl.total_degrees = can_data_buffer[0] << 24 | can_data_buffer[1] << 16| can_data_buffer[2] << 8 | can_data_buffer[3];
              motor_ctrl.speed = (int16_t)(can_data_buffer[4] << 8 | can_data_buffer[5]);
              motor_ctrl.mode = can_data_buffer[6];
              can_data_ready = 0;

              // 检查模式是否发生变化，如果变化则重置PID
              static control_mode_t previous_mode = STOP_MODE;
              if (motor_ctrl.mode != previous_mode) {
                  Controller_ResetPID(&ctrl);
                  previous_mode = motor_ctrl.mode;
              }

              ctrl.target_position = (float)motor_ctrl.total_degrees * _2PI / 4096.0f;
              ctrl.mode = motor_ctrl.mode;
              ctrl.target_velocity = (float)motor_ctrl.speed * _2PI / 60;

              // 调试输出：显示接收到的CAN控制命令
              char can_debug_msg[100];
              sprintf(can_debug_msg, "CAN RX: ID=0x%03X, degrees=%ld, speed=%d, mode=%d\r\n",
                      can_rx_id, motor_ctrl.total_degrees, motor_ctrl.speed, motor_ctrl.mode);
              HAL_UART_Transmit(&huart3, (uint8_t*)can_debug_msg, strlen(can_debug_msg), 100);
          } else {
              // 如果不是控制命令ID，清除标志但不处理数据
              can_data_ready = 0;
          }
      }
      HAL_Delay(20); // 每20ms输出一次数据
  }
  /* USER CODE END 3 */
}

void SystemClock_Config(void)
{
  RCC_OscInitTypeDef RCC_OscInitStruct = {0};
  RCC_ClkInitTypeDef RCC_ClkInitStruct = {0};

  /** Initializes the RCC Oscillators according to the specified parameters
  * in the RCC_OscInitTypeDef structure.
  */
  RCC_OscInitStruct.OscillatorType = RCC_OSCILLATORTYPE_HSE;
  RCC_OscInitStruct.HSEState = RCC_HSE_ON;
  RCC_OscInitStruct.HSEPredivValue = RCC_HSE_PREDIV_DIV1;
  RCC_OscInitStruct.HSIState = RCC_HSI_ON;
  RCC_OscInitStruct.PLL.PLLState = RCC_PLL_ON;
  RCC_OscInitStruct.PLL.PLLSource = RCC_PLLSOURCE_HSE;
  RCC_OscInitStruct.PLL.PLLMUL = RCC_PLL_MUL9;
  if (HAL_RCC_OscConfig(&RCC_OscInitStruct) != HAL_OK)
  {
    Error_Handler();
  }

  /** Initializes the CPU, AHB and APB buses clocks
  */
  RCC_ClkInitStruct.ClockType = RCC_CLOCKTYPE_HCLK|RCC_CLOCKTYPE_SYSCLK
                              |RCC_CLOCKTYPE_PCLK1|RCC_CLOCKTYPE_PCLK2;
  RCC_ClkInitStruct.SYSCLKSource = RCC_SYSCLKSOURCE_PLLCLK;
  RCC_ClkInitStruct.AHBCLKDivider = RCC_SYSCLK_DIV1;
  RCC_ClkInitStruct.APB1CLKDivider = RCC_HCLK_DIV2;
  RCC_ClkInitStruct.APB2CLKDivider = RCC_HCLK_DIV1;

  if (HAL_RCC_ClockConfig(&RCC_ClkInitStruct, FLASH_LATENCY_2) != HAL_OK)
  {
    Error_Handler();
  }
}

/* USER CODE BEGIN 4 */
// 定时器中断回调
void HAL_TIM_PeriodElapsedCallback(TIM_HandleTypeDef *htim) {
    if (htim->Instance == TIM2) {
        if (as5600_dma_complete) {
            // 处理上一次读取的数据
            AS5600_ProcessData(&as5600);
            // 启动新的读取
            as5600_dma_complete = 0;
            HAL_I2C_Mem_Read_DMA(&hi2c1, (AS5600_ADDR << 1), AS5600_ANGLE_REG, I2C_MEMADD_SIZE_8BIT, as5600_dma_buffer, 2);
        }
    }
    if (htim->Instance == TIM3)
    {
       // 更新传感器数据到控制器
         ctrl.sensor.position_rad = as5600.position_rad;
         ctrl.sensor.velocity_rad = as5600.velocity_rad_per_sec_filtered;
         // 执行FOC控制
         FOC_Control(&ctrl, dt_foc);
    }
}

void HAL_UART_RxCpltCallback(UART_HandleTypeDef *huart)
{
    if(huart->Instance == USART3) {
        // 设置标志，表示数据已准备好，在主循环中处理
        uart_data_ready = 1;

        // 立即重新启动UART接收
        HAL_UART_Receive_IT(&huart3, uart_rx_buffer, 4);
    }
}

/* CAN接收回调函数修改 */
void HAL_CAN_RxFifo0MsgPendingCallback(CAN_HandleTypeDef *hcan)
{
    /* 接收CAN消息 */
    if (HAL_CAN_GetRxMessage(hcan, CAN_RX_FIFO0, &rx_header, can_rx_data) == HAL_OK)
    {
        // 检查接收到的消息ID是否为当前设备的控制命令ID
        if (rx_header.StdId == get_current_control_id()) {
            // 简单复制数据，避免在中断中做太多处理
            can_rx_id = rx_header.StdId;
            can_data_len = rx_header.DLC;
            memcpy(can_data_buffer, can_rx_data, can_data_len);
            can_data_ready = 1;
        }
        // 如果不是当前设备的控制命令ID，则忽略
    }
}
/* USER CODE END 4 */

void Error_Handler(void)
{
  __disable_irq();
  while (1)
  {
  }
}
